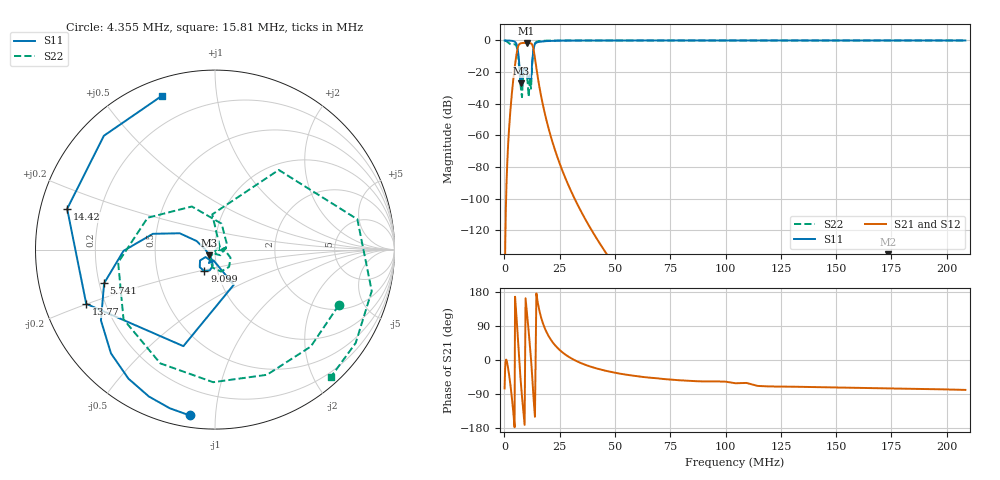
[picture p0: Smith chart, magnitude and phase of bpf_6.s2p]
! NeoRadio BPF 6: 7.5-12 MHz, selected in the bank
! generated_by 859cd57
# HZ S RI R 50
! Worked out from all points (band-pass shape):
!   182 points, 50 kHz to 208.4 MHz, reference 50 ohm
!   highest |S21| = -1.52 dB at 9.976 MHz (marker M1); lowest = -198.8 dB at 173.4 MHz (marker M2)
!   |S21| within 3 dB of the highest: 6.012 MHz to 12.94 MHz (6.932 MHz wide, 73.1 % of centre)
!   lowest |S11| = -27.2 dB at 7.568 MHz (marker M3), VSWR 1.09, Z = 46.9 - j2.93 ohm
!   |S11| at or under -10 dB: 6.367 MHz to 12.78 MHz (6.416 MHz wide, 67 % of centre)
!   |S22| runs from -35.8 to 0.0 dB; largest |S21 - S12| = 0
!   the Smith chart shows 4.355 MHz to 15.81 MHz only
!   S11 on the Smith chart (normalised r, x): 4.355 MHz: 0.06, -0.86; 5.741 MHz: 0.22, -0.14; 9.099 MHz: 0.86, -0.21; 13.77 MHz: 0.13, -0.20; 14.42 MHz: 0.08, +0.13; 15.81 MHz: 0.07, +0.71
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50000  0.9999 -0.0164  1.5e-10 -5.59e-10  1.5e-10 -5.59e-10  0.9968 -0.0774
208434.7  0.9976 -0.0684  4.76e-08 -3.4e-08  4.76e-08 -3.4e-08  0.9451 -0.3159
829793.5  0.9615 -0.2703  1.96e-05 1.78e-07  1.96e-05 1.78e-07  0.2931 -0.9045
2084347  0.7532 -0.645  0.00132 -0.00108  0.00132 -0.00108  -0.8027 -0.1207
3303467  0.3616 -0.9048  -0.00269 -0.0199  -0.00269 -0.0199  0.0878 0.7251
4354818  -0.1405 -0.9241  -0.0957 -0.0291  -0.0957 -0.0291  0.6898 -0.3091
5000000  -0.4824 -0.7189  -0.1952 0.1136  -0.1952 0.1136  -0.0102 -0.7387
5740768  -0.6177 -0.1873  0.0358 0.4857  0.0358 0.4857  -0.5396 -0.0718
6591284  -0.1965 0.091  0.7484 0.0596  0.7484 0.0596  0.0366 0.1444
7567806  -0.0308 -0.0311  0.2485 -0.7836  0.2485 -0.7836  0.00213 -0.0244
9098504  -0.0594 -0.1205  -0.8272 -0.1288  -0.8272 -0.1288  0.0783 -0.0964
9976312  -0.0833 -0.0606  -0.6008 0.5866  -0.6008 0.5866  -0.0147 -0.0998
1.199416e7  -0.00798 -0.0603  0.8052 0.0299  0.8052 0.0299  0.0297 0.00277
1.315134e7  -0.1762 -0.5379  -0.1064 -0.5174  -0.1064 -0.5174  0.3549 0.4439
1.377114e7  -0.7174 -0.302  -0.2393 -0.1394  -0.2393 -0.1394  0.7931 0.169
1.442016e7  -0.8237 0.227  -0.1328 0.0102  -0.1328 0.0102  0.8733 -0.2309
1.581139e7  -0.2979 0.8553  -0.0211 0.0258  -0.0211 0.0258  0.6452 -0.7102
1.990536e7  0.8647 0.4182  0.00075 0.00151  0.00075 0.00151  0.000504 -0.9893
2.505936e7  0.9057 -0.3837  0.000111 5.38e-05  0.000111 5.38e-05  -0.3952 -0.9137
5.235643e7  -0.2672 -0.9615  3.51e-08 -2.57e-08  3.51e-08 -2.57e-08  -0.8684 -0.492
1.733684e8  -0.9214 -0.3843  2.97e-11 -1.11e-10  2.97e-11 -1.11e-10  -0.9866 -0.1513
2.084347e8  -0.9454 -0.3205  7e-10 -3.58e-09  7e-10 -3.58e-09  -0.9904 -0.1236
